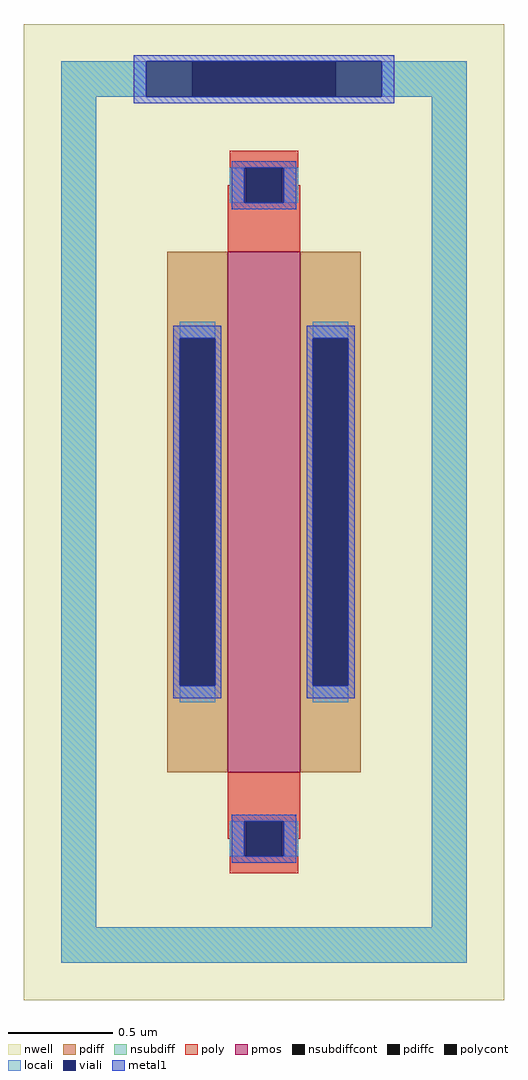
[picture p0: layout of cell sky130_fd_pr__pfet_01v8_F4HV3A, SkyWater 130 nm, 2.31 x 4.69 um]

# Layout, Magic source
magic
tech sky130A
magscale 1 2
<< nwell >>
rect -231 -469 231 469
<< pmos >>
rect -35 -250 35 250
<< pdiff >>
rect -93 167 -35 250
rect -93 -167 -81 167
rect -47 -167 -35 167
rect -93 -250 -35 -167
rect 35 167 93 250
rect 35 -167 47 167
rect 81 -167 93 167
rect 35 -250 93 -167
<< pdiffc >>
rect -81 -167 -47 167
rect 47 -167 81 167
<< nsubdiff >>
rect -195 399 -69 433
rect 69 399 195 433
rect -195 -399 -161 399
rect 161 -399 195 399
rect -195 -433 195 -399
<< nsubdiffcont >>
rect -69 399 69 433
<< poly >>
rect -33 331 33 347
rect -33 314 -17 331
rect -35 297 -17 314
rect 17 314 33 331
rect 17 297 35 314
rect -35 250 35 297
rect -35 -297 35 -250
rect -35 -314 -17 -297
rect -33 -331 -17 -314
rect 17 -314 35 -297
rect 17 -331 33 -314
rect -33 -347 33 -331
<< polycont >>
rect -17 297 17 331
rect -17 -331 17 -297
<< locali >>
rect -195 399 -113 433
rect 113 399 195 433
rect -195 -399 -161 399
rect -33 297 -19 331
rect 19 297 33 331
rect -81 167 -47 183
rect -81 -183 -47 -167
rect 47 167 81 183
rect 47 -183 81 -167
rect -33 -331 -19 -297
rect 19 -331 33 -297
rect 161 -399 195 399
rect -195 -433 195 -399
<< viali >>
rect -113 399 -69 433
rect -69 399 69 433
rect 69 399 113 433
rect -19 297 -17 331
rect -17 297 17 331
rect 17 297 19 331
rect -81 -167 -47 167
rect 47 -167 81 167
rect -19 -331 -17 -297
rect -17 -331 17 -297
rect 17 -331 19 -297
<< metal1 >>
rect -125 433 125 439
rect -125 399 -113 433
rect 113 399 125 433
rect -125 393 125 399
rect -31 331 31 337
rect -31 297 -19 331
rect 19 297 31 331
rect -31 291 31 297
rect -87 167 -41 179
rect -87 -167 -81 167
rect -47 -167 -41 167
rect -87 -179 -41 -167
rect 41 167 87 179
rect 41 -167 47 167
rect 81 -167 87 167
rect 41 -179 87 -167
rect -31 -297 31 -291
rect -31 -331 -19 -297
rect 19 -331 31 -297
rect -31 -337 31 -331
<< properties >>
string FIXED_BBOX -178 -416 178 416
string gencell sky130_fd_pr__pfet_01v8
string library sky130
string parameters w 2.5 l 0.35 m 1 nf 1 diffcov 70 polycov 70 guard 1 glc 0 grc 0 gtc 1 gbc 0 tbcov 70 rlcov 70 topc 1 botc 1 poverlap 0 doverlap 1 lmin 0.15 wmin 0.42 compatible {sky130_fd_pr__pfet_01v8  sky130_fd_pr__pfet_01v8_lvt sky130_fd_pr__pfet_01v8_hvt  sky130_fd_pr__pfet_g5v0d10v5} full_metal 1 viasrc 70 viadrn 70 viagate 100 viagb 0 viagr 0 viagl 0 viagt 70
<< end >>
